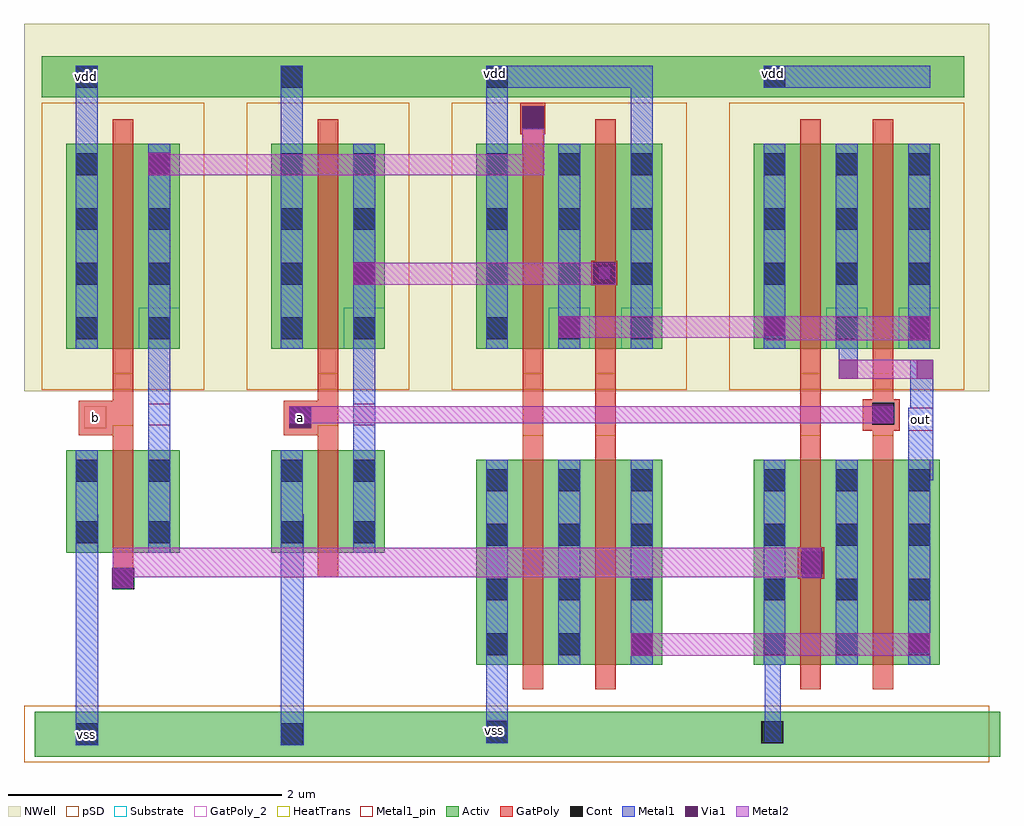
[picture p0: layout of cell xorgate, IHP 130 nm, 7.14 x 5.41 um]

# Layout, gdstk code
from math import pi, radians
import gdstk
lib = gdstk.Library(unit=1e-6, precision=5e-09)
def R(c, l, rs):  # rectangles x0, y0, x1, y1
    for r in rs: c.add(gdstk.rectangle(r[:2], r[2:], *l))
def A(c, l, x, y, w, h, nx, ny, dx, dy):  # array of equal rectangles
    R(c, l, [(x+i*dx, y+j*dy, x+i*dx+w, y+j*dy+h) for i in range(nx) for j in range(ny)])
Activ = (1, 0)
GatPoly = (5, 0)
GatPoly_2 = (5, 2)
Cont = (6, 0)
Metal1 = (8, 0)
Metal1_pin = (8, 2)
Metal2 = (10, 0)
pSD = (14, 0)
Via1 = (19, 0)
NWell = (31, 0)
Substrate = (40, 0)
HeatTrans = (51, 0)

nmos_1 = lib.new_cell('nmos$1')
R(nmos_1, Activ, [(0,0,0.3,0.3), (0,0,0.83,1.5), (0.53,0,0.83,0.3)])
R(nmos_1, GatPoly, [(0.34,-0.18,0.49,1.68)])
R(nmos_1, GatPoly_2, [(0.34,-0.18,0.49,1.68)])
A(nmos_1, Cont, 0.07, 0.07, 0.16, 0.16, 1, 4, 0, 0.4)
A(nmos_1, Cont, 0.6, 0.07, 0.16, 0.16, 1, 4, 0, 0.4)
R(nmos_1, Metal1, [(0.07,0,0.23,1.5), (0.6,0,0.76,1.5)])
R(nmos_1, Metal1_pin, [(0.07,0,0.23,1.5), (0.6,0,0.76,1.5)])
R(nmos_1, HeatTrans, [(0.34,-0.18,0.49,1.68)])
nmos_1.add(gdstk.Label('nmos', (0.415,0.75), layer=63, texttype=0))
nmos_1.add(gdstk.Label('nmos', (0.415,0.75), layer=51, texttype=0))

pmos = lib.new_cell('pmos')
R(pmos, Activ, [(0,0,0.3,0.3), (0,0,0.83,1.5), (0.53,0,0.83,0.3)])
R(pmos, GatPoly, [(0.34,-0.18,0.49,1.68), (0.34,-0.18,0.49,1.68)])
A(pmos, Cont, 0.07, 0.07, 0.16, 0.16, 1, 4, 0, 0.4)
A(pmos, Cont, 0.6, 0.07, 0.16, 0.16, 1, 4, 0, 0.4)
R(pmos, Metal1, [(0.07,0,0.23,1.5), (0.07,0,0.23,1.5), (0.6,0,0.76,1.5), (0.6,0,0.76,1.5)])
R(pmos, pSD, [(-0.18,-0.3,1.01,1.8)])
R(pmos, NWell, [(-0.31,-0.31,1.14,1.81)])
R(pmos, Substrate, [(0.53,0,0.83,0.3)])
R(pmos, HeatTrans, [(0.34,-0.18,0.49,1.68)])
pmos.add(gdstk.Label('pmos', (0.415,0.75), layer=63, texttype=0))
pmos.add(gdstk.Label('pmos', (0.415,0.75), layer=51, texttype=0))

nmos_4 = lib.new_cell('nmos$4')
R(nmos_4, Activ, [(0,0,0.3,0.3), (0,0,0.83,0.75), (0.53,0,0.83,0.3)])
R(nmos_4, GatPoly, [(0.34,-0.18,0.49,0.93)])
R(nmos_4, GatPoly_2, [(0.34,-0.18,0.49,0.93)])
R(nmos_4, Cont, [(0.07,0.07,0.23,0.23), (0.6,0.07,0.76,0.23), (0.07,0.52,0.23,0.68), (0.6,0.52,0.76,0.68)])
R(nmos_4, Metal1, [(0.07,0,0.23,0.75), (0.6,0,0.76,0.75)])
R(nmos_4, Metal1_pin, [(0.07,0,0.23,0.75), (0.6,0,0.76,0.75)])
R(nmos_4, HeatTrans, [(0.34,-0.18,0.49,0.93)])
nmos_4.add(gdstk.Label('nmos', (0.415,0.375), layer=63, texttype=0))
nmos_4.add(gdstk.Label('nmos', (0.415,0.375), layer=51, texttype=0))

pmos_4 = lib.new_cell('pmos$4')
R(pmos_4, Activ, [(0,0,0.3,0.3), (0,0,0.83,1.5), (0.53,0,0.83,0.3)])
R(pmos_4, GatPoly, [(0.34,-0.18,0.49,1.68), (0.34,-0.18,0.49,1.68)])
A(pmos_4, Cont, 0.07, 0.07, 0.16, 0.16, 1, 4, 0, 0.4)
A(pmos_4, Cont, 0.6, 0.07, 0.16, 0.16, 1, 4, 0, 0.4)
R(pmos_4, Metal1, [(0.07,0,0.23,1.5), (0.07,0,0.23,1.5), (0.6,0,0.76,1.5), (0.6,0,0.76,1.5)])
R(pmos_4, pSD, [(-0.18,-0.3,1.01,1.8)])
R(pmos_4, NWell, [(-0.31,-0.31,1.14,1.81)])
R(pmos_4, Substrate, [(0.53,0,0.83,0.3)])
R(pmos_4, HeatTrans, [(0.34,-0.18,0.49,1.68)])
pmos_4.add(gdstk.Label('pmos', (0.415,0.75), layer=63, texttype=0))
pmos_4.add(gdstk.Label('pmos', (0.415,0.75), layer=51, texttype=0))

inverter_3 = lib.new_cell('inverter$3')
R(inverter_3, Activ, [(-0.845,-2.62,0.395,-2.29), (-0.795,2.205,0.285,2.505)])
R(inverter_3, GatPoly, [(-0.525,-0.265,-0.275,-0.015), (-0.275,-0.195,-0.125,0.185)])
R(inverter_3, GatPoly_2, [(-0.485,-0.215,-0.325,-0.055)])
R(inverter_3, Cont, [(-0.545,-2.535,-0.385,-2.375), (-0.545,-2.535,-0.385,-2.375), (-0.545,2.275,-0.385,2.435)])
R(inverter_3, Metal1, [(-0.545,-2.535,-0.38,-0.845), (-0.015,-0.375,0.145,0.365), (-0.545,1.865,-0.385,2.435)])
R(inverter_3, Metal1_pin, [(-0.015,-0.195,0.145,-0.035)])
R(inverter_3, pSD, [(-0.925,-2.66,0.525,-2.245)])
R(inverter_3, NWell, [(-0.925,2.175,0.525,2.745)])
inverter_3.add(gdstk.Reference(nmos_4, (-0.615,-1.125)))
inverter_3.add(gdstk.Reference(pmos_4, (-0.615,0.365)))
inverter_3.add(gdstk.Label('vss', (-0.475,-2.43), layer=8, texttype=2))
inverter_3.add(gdstk.Label('vdd', (-0.465,2.355), layer=8, texttype=2))
inverter_3.add(gdstk.Label('out', (0.06,-0.09), layer=8, texttype=2))
inverter_3.add(gdstk.Label('in', (-0.45,-0.11), layer=5, texttype=2))

xorgate = lib.new_cell('xorgate')
R(xorgate, Activ, [(-5.875,-2.62,-0.845,-2.29), (-0.845,-2.62,1.185,-2.29), (-5.825,2.205,-0.795,2.505), (-0.795,2.205,0.925,2.505)])
R(xorgate, GatPoly, [(-5.305,-1.395,-5.15,-1.305), (-0.295,-1.315,-0.1,-1.085), (-2.305,-0.265,-2.155,0.185), (-1.775,-0.265,-1.625,0.185), (-0.275,-0.265,-0.125,0.185), (0.255,-0.265,0.405,0.185), (0.18,-0.235,0.45,-0.005), (-1.805,0.83,-1.615,1.01), (-2.325,1.935,-2.14,2.165)])
R(xorgate, GatPoly_2, [(-5.515,-0.215,-5.355,-0.055)])
R(xorgate, Cont, [(-2.575,-2.52,-2.415,-2.36), (-0.56,-2.52,-0.4,-2.36), (-5.31,-1.395,-5.15,-1.235), (-0.27,-1.28,-0.11,-1.12), (-4.015,-0.215,-3.855,-0.055), (0.25,-0.19,0.41,-0.03), (-1.79,0.84,-1.63,1), (-2.31,1.98,-2.15,2.14), (-2.575,2.275,-2.415,2.435), (-0.545,2.275,-0.385,2.435)])
R(xorgate, Metal1, [(-2.575,-2.52,-2.415,-0.445), (-0.535,-2.51,-0.42,-1.715), (-5.305,-1.385,-5.155,-1.24), (-5.305,-1.385,-5.155,-1.245), (-0.265,-1.31,-0.115,-1.09), (0.515,-0.595,0.695,-0.065), (0.53,-0.235,0.695,0.285), (-4.015,-0.215,-3.855,-0.055), (0.255,-0.18,0.405,-0.04), (0.005,0.145,0.145,0.365), (-2.575,0.365,-2.415,2.435), (-1.75,0.875,-1.665,0.965), (-2.575,1.865,-2.415,2.435), (-1.515,1.865,-1.355,2.435), (-2.31,1.975,-2.15,2.14), (-2.575,2.275,-1.355,2.435), (-0.545,2.275,0.675,2.435)])
R(xorgate, Metal1_pin, [(-2.575,-2.52,-2.415,-2.355), (0.515,-0.235,0.695,-0.065), (-2.575,2.275,-2.415,2.435), (-0.545,2.275,-0.385,2.435)])
R(xorgate, Metal2, [(-1.515,-1.88,0.675,-1.715), (-5.305,-1.385,-5.155,-1.24), (-5.305,-1.305,-0.125,-1.09), (-4.015,-0.18,0.405,-0.055), (0.005,0.145,0.695,0.285), (-0.53,0.43,0.675,0.605), (-2.045,0.445,-0.385,0.605), (-3.545,0.835,-1.625,0.995), (-5.045,1.635,-2.15,1.79), (-5.045,1.635,-4.885,1.795), (-2.31,1.635,-2.15,1.975)])
R(xorgate, pSD, [(-5.955,-2.66,-0.925,-2.245), (-0.925,-2.66,1.105,-2.245)])
R(xorgate, Via1, [(-1.515,-1.88,-1.355,-1.72), (0.515,-1.855,0.675,-1.715), (-5.305,-1.385,-5.155,-1.245), (-0.265,-1.305,-0.115,-1.09), (-4.015,-0.215,-3.855,-0.055), (0.255,-0.18,0.405,-0.04), (0.005,0.145,0.145,0.285), (0.575,0.145,0.695,0.285), (0.53,0.43,0.675,0.605), (-2.045,0.445,-1.885,0.595), (-0.545,0.46,-0.385,0.605), (-3.545,0.835,-3.385,1), (-1.75,0.875,-1.665,0.965), (-5.045,1.64,-4.885,1.8), (-2.31,1.975,-2.15,2.14)])
R(xorgate, NWell, [(-5.955,0.055,1.105,2.745), (-5.955,2.175,-0.925,2.745), (-0.925,2.175,1.105,2.745)])
xorgate.add(gdstk.Reference(nmos_1, (0.745,-0.445), rotation=pi))
xorgate.add(gdstk.Reference(nmos_1, (-0.615,-1.945)))
xorgate.add(gdstk.Reference(pmos, (-0.615,0.365)))
xorgate.add(gdstk.Reference(pmos, (-0.085,0.365)))
xorgate.add(gdstk.Reference(pmos, (-2.645,0.365)))
xorgate.add(gdstk.Reference(pmos, (-2.115,0.365)))
xorgate.add(gdstk.Reference(nmos_1, (-1.285,-0.445), rotation=pi))
xorgate.add(gdstk.Reference(nmos_1, (-2.645,-1.945)))
xorgate.add(gdstk.Reference(inverter_3, (-3.53,0)))
xorgate.add(gdstk.Reference(inverter_3, (-5.03,0)))
xorgate.add(gdstk.Label('vdd', (-5.495,2.355), layer=8, texttype=2))
xorgate.add(gdstk.Label('vss', (-5.495,-2.455), layer=8, texttype=2))
xorgate.add(gdstk.Label('out', (0.605,-0.15), layer=8, texttype=2))
xorgate.add(gdstk.Label('vdd', (-2.505,2.38), layer=8, texttype=2))
xorgate.add(gdstk.Label('vss', (-2.515,-2.425), layer=8, texttype=2))
xorgate.add(gdstk.Label('vdd', (-0.475,2.38), layer=8, texttype=2))
xorgate.add(gdstk.Label('b', (-5.435,-0.135), layer=5, texttype=2))
xorgate.add(gdstk.Label('a', (-3.93,-0.14), layer=5, texttype=2))

lib.write_gds('xorgate.gds')
